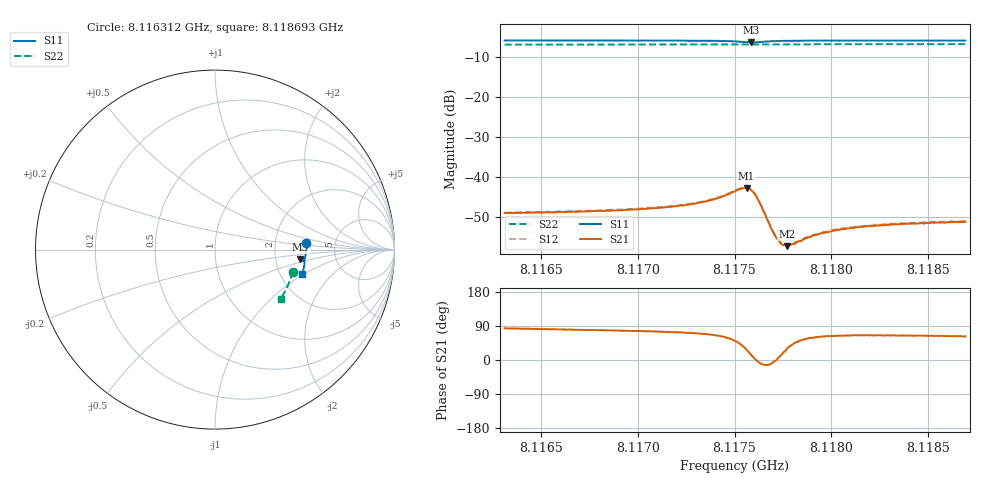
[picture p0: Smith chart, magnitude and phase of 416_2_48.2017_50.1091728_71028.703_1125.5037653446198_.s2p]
#  HZ  S  RI  R  50.00
! Rohde & Schwarz Vector Network Analyzer
! Rohde-Schwarz,ZNB20-2Port,1311601062101988,3.16
! Created: UTC 3/20/2024, 11:54:44 AM
! freq[Hz]  re:S11  im:S11  re:S21  im:S21  re:S12  im:S12  re:S22  im:S22
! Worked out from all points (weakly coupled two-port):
!   401 points, 8.116312 GHz to 8.118693 GHz, reference 50 ohm
!   highest |S21| = -42.70 dB at 8.117562 GHz (marker M1); lowest = -57.2 dB at 8.11777 GHz (marker M2)
!   lowest |S11| = -6.4 dB at 8.117586 GHz (marker M3), VSWR 2.83, Z = 139 - j19.6 ohm
!   |S11| at or under -10 dB: nowhere
!   |S22| runs from -6.9 to -6.8 dB; largest |S21 - S12| = 0.0002
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8.1163121e9  0.5058 0.0351  0.000396 0.00354  0.000496 0.00359  0.4326 -0.1223
8.1167109e9  0.5064 0.00469  0.000683 0.00365  0.000708 0.00373  0.4253 -0.149
8.1171096e9  0.5048 -0.0263  0.00109 0.004  0.00114 0.00405  0.4163 -0.1753
8.1172287e9  0.5035 -0.0365  0.00132 0.0042  0.00139 0.00428  0.4133 -0.1832
8.1173299e9  0.5016 -0.0456  0.00173 0.00453  0.00177 0.00458  0.4106 -0.1898
8.1174251e9  0.4977 -0.0552  0.00252 0.00497  0.00259 0.00501  0.4079 -0.1959
8.1175025e9  0.4895 -0.0628  0.00423 0.00514  0.00434 0.00522  0.4052 -0.2009
8.1175382e9  0.4824 -0.0636  0.00566 0.00449  0.00575 0.00456  0.404 -0.203
8.117562e9  0.4775 -0.0607  0.00652 0.00336  0.00669 0.00337  0.4031 -0.2043
8.1175858e9  0.4752 -0.0546  0.00669 0.00164  0.00682 0.00161  0.4024 -0.2053
8.1176036e9  0.4768 -0.05  0.00614 0.000398  0.00629 0.000341  0.4019 -0.2061
8.1176215e9  0.4804 -0.0467  0.00517 -0.000447  0.0053 -0.000477  0.4017 -0.2071
8.1176929e9  0.4937 -0.0504  0.00217 -0.000307  0.00222 -0.000342  0.4001 -0.2119
8.1177167e9  0.4958 -0.0535  0.00173 8.8e-06  0.00176 -2.09e-06  0.3996 -0.2135
8.1177405e9  0.4971 -0.0564  0.00142 0.000328  0.00148 0.000312  0.3989 -0.2151
8.1177703e9  0.498 -0.0601  0.0012 0.000671  0.00125 0.000684  0.3981 -0.217
8.117806e9  0.4986 -0.064  0.00106 0.001  0.00112 0.00103  0.3969 -0.2192
8.1179012e9  0.4986 -0.0734  0.000961 0.00159  0.000968 0.00159  0.3939 -0.2253
8.1180203e9  0.4976 -0.0838  0.000954 0.00193  0.000979 0.00198  0.39 -0.2328
8.1180977e9  0.4966 -0.0901  0.000993 0.00208  0.00103 0.00213  0.3874 -0.2377
8.1183e9  0.4936 -0.1058  0.00109 0.00231  0.00113 0.00231  0.3803 -0.2499
8.1186928e9  0.4862 -0.1349  0.00128 0.00246  0.00132 0.00249  0.3654 -0.2732
